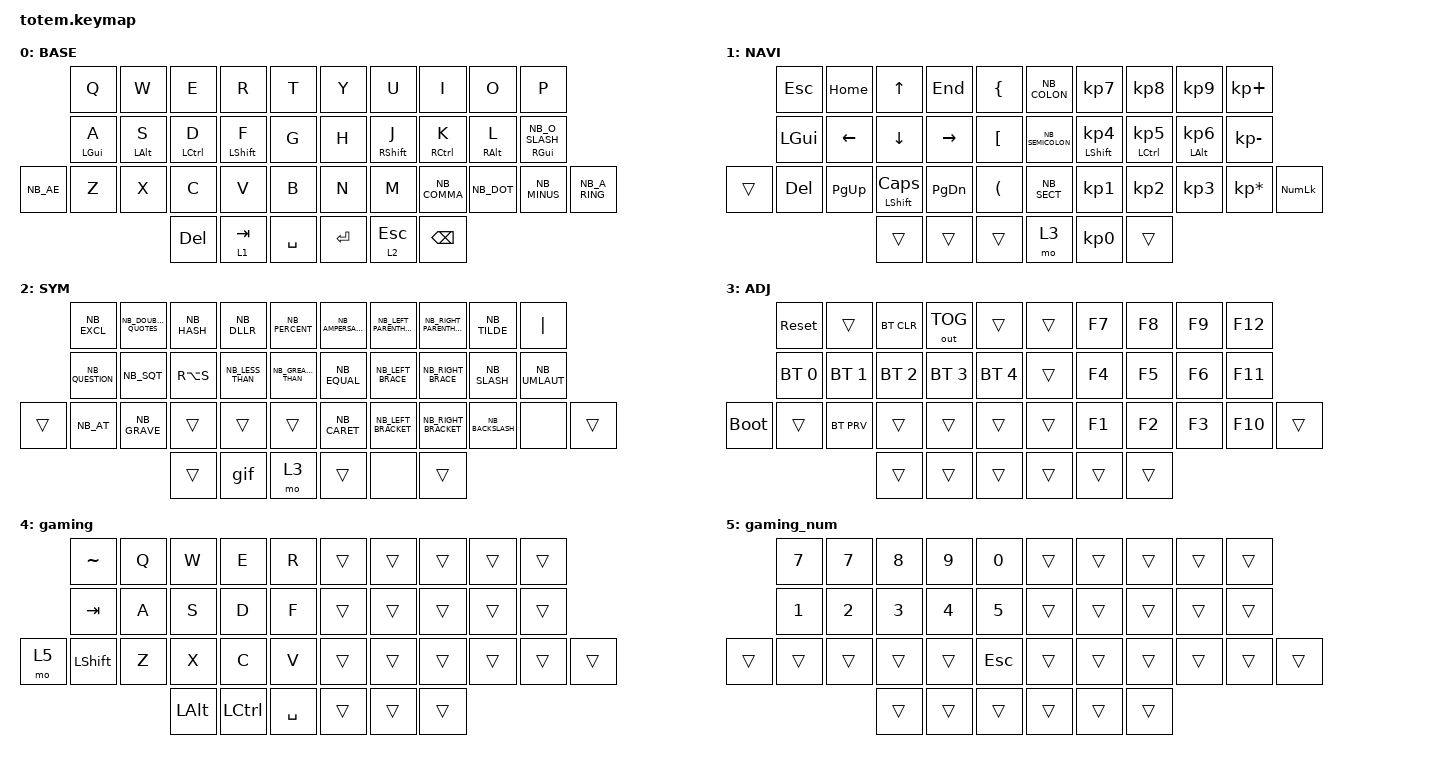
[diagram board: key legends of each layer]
//
//                                                        ▀▀▀▀▀     ▀▀▀▀▀          ▀▀█▀▀
//                                                        ▄▀▀▀▄  ▄  ▄▀▀▀▄  ▄  ▄▀▀▀▄  █  ▄▀▀▀▄
//                                                        █   █  █  █   █  █  █   █  █  █   █
//                                                         ▀▀▀   █   ▀▀▀   █   ▀▀▀   ▀   ▀▀▀
//                                                               █      ▄▄▄█▄▄▄    █   █  
//                                                               ▀      █  █  █     █▄█
//                                                             ▀▀▀▀▀    █  █  █      ▀
//                                                                      ▀  ▀  ▀
//
// ▄▄▄▄▄▄▄▄▄▄▄▄▄▄▄▄▄▄▄▄▄▄▄▄▄▄▄▄▄▄▄▄▄▄▄▄▄▄▄▄▄▄▄▄▄▄▄▄▄▄▄▄▄▄▄▄▄▄▄▄▄▄▄▄▄▄▄▄▄▄▄▄▄▄▄▄▄▄▄▄▄▄▄▄▄▄▄▄▄▄▄▄▄▄▄▄▄▄▄▄▄▄▄▄▄▄▄▄▄▄▄▄▄▄▄▄▄▄▄▄▄▄▄▄▄▄▄▄▄▄▄▄▄▄▄▄▄▄▄▄▄▄▄▄▄▄▄▄▄

#include "keys_nb.h"
#include <behaviors.dtsi>
#include <dt-bindings/zmk/bt.h>
#include <dt-bindings/zmk/keys.h>
#include <dt-bindings/zmk/outputs.h>

#define BASE 0
#define NAV  1
#define SYM  2
#define ADJ  3
#define TVP1 4
#define TVP2 5

&mt {
    quick-tap-ms = <200>;
    global-quick-tap;
    flavor = "balanced";
    tapping-term-ms = <170>;
};

/ {
    combos {
        compatible = "zmk,combos";

        combo_esc {
            timeout-ms = <50>;
            key-positions = <0 1>;
            bindings = <&kp ESC>;
        };

        toggle-gaming {
            bindings = <&tog 4>;
            key-positions = <3 4>;
        };
    };

    macros {
        gif: gif {
            label = "giphy";
            compatible = "zmk,behavior-macro";
            #binding-cells = <0>;
            bindings =
                <&macro_press>,
                <&kp LSHFT>,
                <&macro_tap>,
                <&kp N2>,
                <&macro_release>,
                <&kp LSHFT>,
                <&macro_tap>,
                <&kp G &kp I &kp F>;
        };
    };

    keymap {
        compatible = "zmk,keymap";

        // ▄▄▄▄▄▄▄▄▄▄▄▄▄▄▄▄▄▄▄▄▄▄▄▄▄▄▄▄▄▄▄▄▄▄▄▄▄▄▄▄▄▄▄▄▄▄▄▄▄▄▄▄▄▄▄▄▄▄▄▄▄▄▄▄▄▄▄▄▄▄▄▄▄▄▄▄▄▄▄▄▄▄▄▄▄▄▄▄▄▄▄▄▄▄▄▄▄▄▄▄▄▄▄▄▄▄▄▄▄▄▄▄▄▄▄▄▄▄▄▄▄▄▄▄▄▄▄▄▄▄▄▄▄▄▄▄▄▄▄▄▄▄▄▄▄▄▄▄▄

        base_layer {
            // ┏━━━━━━━━━━━━━━━━━━━━━━━━━━━━━━━━━━━━━━━┓

            label = "BASE";

            // ┗━━━━━━━━━━━━━━━━━━━━━━━━━━━━━━━━━━━━━━━┛
            //             ┏━━━━━━━━━━━┳━━━━━━━━━━━┳━━━━━━━━━━━┳━━━━━━━━━━━┳━━━━━━━━━━━┓   ┏━━━━━━━━━━━┳━━━━━━━━━━━┳━━━━━━━━━━━┳━━━━━━━━━━━┳━━━━━━━━━━━┓
            //             ┃     Q     ┃     W     ┃     F     ┃     P     ┃     G     ┃   ┃     J     ┃     L     ┃     U     ┃     Y     ┃     ;     ┃
            //             ┣━━━━━━━━━━━╋━━━━━━━━━━━╋━━━━━━━━━━━╋━━━━━━━━━━━╋━━━━━━━━━━━┫   ┣━━━━━━━━━━━╋━━━━━━━━━━━╋━━━━━━━━━━━╋━━━━━━━━━━━╋━━━━━━━━━━━┫
            //             ┃     A     ┃     R     ┃     S     ┃     T     ┃     D     ┃   ┃     H     ┃     N     ┃     E     ┃     I     ┃     O     ┃
            // ┏━━━━━━━━━━━╋━━━━━━━━━━━╋━━━━━━━━━━━╋━━━━━━━━━━━╋━━━━━━━━━━━╋━━━━━━━━━━━┫   ┣━━━━━━━━━━━╋━━━━━━━━━━━╋━━━━━━━━━━━╋━━━━━━━━━━━╋━━━━━━━━━━━╋━━━━━━━━━━━┓
            // ┃     Q     ┃     Z     ┃     X     ┃     C     ┃     V     ┃     B     ┃   ┃     K     ┃     M     ┃     ,     ┃     .     ┃     /     ┃     \     ┃
            // ┗━━━━━━━━━━━┻━━━━━━━━━━━┻━━━━━━━━━━━╋━━━━━━━━━━━╋━━━━━━━━━━━╋━━━━━━━━━━━┫   ┣━━━━━━━━━━━╋━━━━━━━━━━━╋━━━━━━━━━━━╋━━━━━━━━━━━┻━━━━━━━━━━━┻━━━━━━━━━━━┛
            //                                     ┃    DEL    ┃    TAB    ┃    SPC    ┃   ┃   ENTER   ┃           ┃   BSPC    ┃
            //                                     ┗━━━━━━━━━━━┻━━━━━━━━━━━┻━━━━━━━━━━━┛   ┗━━━━━━━━━━━┻━━━━━━━━━━━┻━━━━━━━━━━━┛

            bindings = <
           &kp Q       &kp W       &kp E        &kp R        &kp T        &kp Y    &kp U        &kp I         &kp O       &kp P
           &mt LGUI A  &mt LALT S  &mt LCTRL D  &mt LSHFT F  &kp G        &kp H    &mt RSHFT J  &mt RCTRL K   &mt RALT L  &mt RGUI NB_O_SLASH
&kp NB_AE  &kp Z       &kp X       &kp C        &kp V        &kp B        &kp N    &kp M        &kp NB_COMMA  &kp NB_DOT  &kp NB_MINUS         &kp NB_A_RING
                                   &kp DEL      &lt 1 TAB    &kp SPACE    &kp RET  &lt 2 ESC    &kp BSPC
            >;
        };

        // ▄▄▄▄▄▄▄▄▄▄▄▄▄▄▄▄▄▄▄▄▄▄▄▄▄▄▄▄▄▄▄▄▄▄▄▄▄▄▄▄▄▄▄▄▄▄▄▄▄▄▄▄▄▄▄▄▄▄▄▄▄▄▄▄▄▄▄▄▄▄▄▄▄▄▄▄▄▄▄▄▄▄▄▄▄▄▄▄▄▄▄▄▄▄▄▄▄▄▄▄▄▄▄▄▄▄▄▄▄▄▄▄▄▄▄▄▄▄▄▄▄▄▄▄▄▄▄▄▄▄▄▄▄▄▄▄▄▄▄▄▄▄▄▄▄▄▄▄▄

        Numpad {
            // ┏━━━━━━━━━━━━━━━━━━━━━━━━━━━━━━━━━━━━━━━┓

            label = "NAVI";

            // ┗━━━━━━━━━━━━━━━━━━━━━━━━━━━━━━━━━━━━━━━┛
            //             ┏━━━━━━━━━━━┳━━━━━━━━━━━┳━━━━━━━━━━━┳━━━━━━━━━━━┳━━━━━━━━━━━┓   ┏━━━━━━━━━━━┳━━━━━━━━━━━┳━━━━━━━━━━━┳━━━━━━━━━━━┳━━━━━━━━━━━┓
            //             ┃           ┃           ┃     UP    ┃           ┃     {     ┃   ┃     }     ┃     7     ┃     8     ┃     9     ┃     +     ┃
            //             ┣━━━━━━━━━━━╋━━━━━━━━━━━╋━━━━━━━━━━━╋━━━━━━━━━━━╋━━━━━━━━━━━┫   ┣━━━━━━━━━━━╋━━━━━━━━━━━╋━━━━━━━━━━━╋━━━━━━━━━━━╋━━━━━━━━━━━┫
            //             ┃   SHIFT   ┃   LEFT    ┃    DOWN   ┃   RIGHT   ┃     [     ┃   ┃     ]     ┃     4     ┃     5     ┃     6     ┃     -     ┃
            // ┏━━━━━━━━━━━╋━━━━━━━━━━━╋━━━━━━━━━━━╋━━━━━━━━━━━╋━━━━━━━━━━━╋━━━━━━━━━━━┫   ┣━━━━━━━━━━━╋━━━━━━━━━━━╋━━━━━━━━━━━╋━━━━━━━━━━━╋━━━━━━━━━━━╋━━━━━━━━━━━┓
            // ┃           ┃           ┃   P UP    ┃  C LOCK   ┃  P DOWN   ┃     (     ┃   ┃     )     ┃     1     ┃     2     ┃     3     ┃     *     ┃           ┃
            // ┗━━━━━━━━━━━┻━━━━━━━━━━━┻━━━━━━━━━━━╋━━━━━━━━━━━╋━━━━━━━━━━━╋━━━━━━━━━━━┫   ┣━━━━━━━━━━━╋━━━━━━━━━━━╋━━━━━━━━━━━╋━━━━━━━━━━━┻━━━━━━━━━━━┻━━━━━━━━━━━┛
            //                                     ┃           ┃    TAB    ┃    SPC    ┃   ┃    DEL    ┃     0     ┃           ┃
            //                                     ┗━━━━━━━━━━━┻━━━━━━━━━━━┻━━━━━━━━━━━┛   ┗━━━━━━━━━━━┻━━━━━━━━━━━┻━━━━━━━━━━━┛

            bindings = <
        &kp ESC   &kp HOME   &kp UP                   &kp END    &kp LBRC    &kp NB_COLON      &kp KP_N7             &kp KP_N8        &kp KP_N9           &kp KP_PLUS
        &kp LGUI  &kp LEFT   &kp DOWN                 &kp RIGHT  &kp LBKT    &kp NB_SEMICOLON  &mt LEFT_SHIFT KP_N4  &mt LCTRL KP_N5  &mt LEFT_ALT KP_N6  &kp KP_MINUS
&trans  &kp DEL   &kp PG_UP  &mt LEFT_SHIFT CAPSLOCK  &kp PG_DN  &kp LPAR    &kp NB_SECT       &kp KP_N1             &kp KP_N2        &kp KP_N3           &kp KP_MULTIPLY  &kp KP_NUMLOCK
                             &trans                   &trans     &trans      &mo 3             &kp KP_N0             &trans
            >;
        };

        // ▄▄▄▄▄▄▄▄▄▄▄▄▄▄▄▄▄▄▄▄▄▄▄▄▄▄▄▄▄▄▄▄▄▄▄▄▄▄▄▄▄▄▄▄▄▄▄▄▄▄▄▄▄▄▄▄▄▄▄▄▄▄▄▄▄▄▄▄▄▄▄▄▄▄▄▄▄▄▄▄▄▄▄▄▄▄▄▄▄▄▄▄▄▄▄▄▄▄▄▄▄▄▄▄▄▄▄▄▄▄▄▄▄▄▄▄▄▄▄▄▄▄▄▄▄▄▄▄▄▄▄▄▄▄▄▄▄▄▄▄▄▄▄▄▄▄▄▄▄

        sim_layer {
            // ┏━━━━━━━━━━━━━━━━━━━━━━━━━━━━━━━━━━━━━━━┓

            label = "SYM";

            // ┗━━━━━━━━━━━━━━━━━━━━━━━━━━━━━━━━━━━━━━━┛
            //             ┏━━━━━━━━━━━┳━━━━━━━━━━━┳━━━━━━━━━━━┳━━━━━━━━━━━┳━━━━━━━━━━━┓   ┏━━━━━━━━━━━┳━━━━━━━━━━━┳━━━━━━━━━━━┳━━━━━━━━━━━┳━━━━━━━━━━━┓
            //             ┃     !     ┃     @     ┃     #     ┃     $     ┃     %     ┃   ┃     ˆ     ┃     &     ┃     Ü     ┃     '     ┃     "     ┃
            //             ┣━━━━━━━━━━━╋━━━━━━━━━━━╋━━━━━━━━━━━╋━━━━━━━━━━━╋━━━━━━━━━━━┫   ┣━━━━━━━━━━━╋━━━━━━━━━━━╋━━━━━━━━━━━╋━━━━━━━━━━━╋━━━━━━━━━━━┫
            //             ┃     Ä     ┃           ┃    SZ     ┃           ┃           ┃   ┃   MUTE    ┃   YEN     ┃   EURO    ┃  POUND    ┃     Ö     ┃
            // ┏━━━━━━━━━━━╋━━━━━━━━━━━╋━━━━━━━━━━━╋━━━━━━━━━━━╋━━━━━━━━━━━╋━━━━━━━━━━━┫   ┣━━━━━━━━━━━╋━━━━━━━━━━━╋━━━━━━━━━━━╋━━━━━━━━━━━╋━━━━━━━━━━━╋━━━━━━━━━━━┓
            // ┃           ┃  EMAIL1   ┃  EMAIL2   ┃           ┃           ┃           ┃   ┃   VOL-    ┃   VOL+    ┃   LAST    ┃   NEXT    ┃     \     ┃           ┃
            // ┗━━━━━━━━━━━┻━━━━━━━━━━━┻━━━━━━━━━━━╋━━━━━━━━━━━╋━━━━━━━━━━━╋━━━━━━━━━━━┫   ┣━━━━━━━━━━━╋━━━━━━━━━━━╋━━━━━━━━━━━╋━━━━━━━━━━━┻━━━━━━━━━━━┻━━━━━━━━━━━┛
            //                                     ┃           ┃    GIF    ┃    ADJ    ┃   ┃           ┃           ┃           ┃
            //                                     ┗━━━━━━━━━━━┻━━━━━━━━━━━┻━━━━━━━━━━━┛   ┗━━━━━━━━━━━┻━━━━━━━━━━━┻━━━━━━━━━━━┛

            bindings = <
        &kp NB_EXCL      &kp NB_DOUBLE_QUOTES  &kp NB_HASH  &kp NB_DLLR       &kp NB_PERCENT         &kp NB_AMPERSAND  &kp NB_LEFT_PARENTHESIS  &kp NB_RIGHT_PARENTHESIS  &kp NB_TILDE      &kp PIPE
        &kp NB_QUESTION  &kp NB_SQT            &kp RA(S)    &kp NB_LESS_THAN  &kp NB_GREATER_THAN    &kp NB_EQUAL      &kp NB_LEFT_BRACE        &kp NB_RIGHT_BRACE        &kp NB_SLASH      &kp NB_UMLAUT
&trans  &kp NB_AT        &kp NB_GRAVE          &trans       &trans            &trans                 &kp NB_CARET      &kp NB_LEFT_BRACKET      &kp NB_RIGHT_BRACKET      &kp NB_BACKSLASH  &none          &trans
                                               &trans       &gif              &mo 3                  &trans            &none                    &trans
            >;
        };

        // ▄▄▄▄▄▄▄▄▄▄▄▄▄▄▄▄▄▄▄▄▄▄▄▄▄▄▄▄▄▄▄▄▄▄▄▄▄▄▄▄▄▄▄▄▄▄▄▄▄▄▄▄▄▄▄▄▄▄▄▄▄▄▄▄▄▄▄▄▄▄▄▄▄▄▄▄▄▄▄▄▄▄▄▄▄▄▄▄▄▄▄▄▄▄▄▄▄▄▄▄▄▄▄▄▄▄▄▄▄▄▄▄▄▄▄▄▄▄▄▄▄▄▄▄▄▄▄▄▄▄▄▄▄▄▄▄▄▄▄▄▄▄▄▄▄▄▄▄▄

        adjust_layer {
            // ┏━━━━━━━━━━━━━━━━━━━━━━━━━━━━━━━━━━━━━━━┓

            label = "ADJ";

            // ┗━━━━━━━━━━━━━━━━━━━━━━━━━━━━━━━━━━━━━━━┛
            //             ┏━━━━━━━━━━━┳━━━━━━━━━━━┳━━━━━━━━━━━┳━━━━━━━━━━━┳━━━━━━━━━━━┓   ┏━━━━━━━━━━━┳━━━━━━━━━━━┳━━━━━━━━━━━┳━━━━━━━━━━━┳━━━━━━━━━━━┓
            //             ┃   RESET   ┃ BT CLEAR  ┃  OUT TOG  ┃           ┃           ┃   ┃           ┃    F7     ┃    F8     ┃    F9     ┃    F12    ┃
            //             ┣━━━━━━━━━━━╋━━━━━━━━━━━╋━━━━━━━━━━━╋━━━━━━━━━━━╋━━━━━━━━━━━┫   ┣━━━━━━━━━━━╋━━━━━━━━━━━╋━━━━━━━━━━━╋━━━━━━━━━━━╋━━━━━━━━━━━┫
            //             ┃ BOOTLOAD  ┃ BT NEXT   ┃           ┃           ┃           ┃   ┃           ┃    F4     ┃    F5     ┃    F6     ┃    F11    ┃
            // ┏━━━━━━━━━━━╋━━━━━━━━━━━╋━━━━━━━━━━━╋━━━━━━━━━━━╋━━━━━━━━━━━╋━━━━━━━━━━━┫   ┣━━━━━━━━━━━╋━━━━━━━━━━━╋━━━━━━━━━━━╋━━━━━━━━━━━╋━━━━━━━━━━━╋━━━━━━━━━━━┓
            // ┃           ┃           ┃ BT PREV   ┃           ┃           ┃           ┃   ┃           ┃    F1     ┃    F2     ┃    F3     ┃    F10    ┃           ┃
            // ┗━━━━━━━━━━━┻━━━━━━━━━━━┻━━━━━━━━━━━╋━━━━━━━━━━━╋━━━━━━━━━━━╋━━━━━━━━━━━┫   ┣━━━━━━━━━━━╋━━━━━━━━━━━╋━━━━━━━━━━━╋━━━━━━━━━━━┻━━━━━━━━━━━┻━━━━━━━━━━━┛
            //                                     ┃           ┃           ┃           ┃   ┃           ┃           ┃           ┃
            //                                     ┗━━━━━━━━━━━┻━━━━━━━━━━━┻━━━━━━━━━━━┛   ┗━━━━━━━━━━━┻━━━━━━━━━━━┻━━━━━━━━━━━┛

            bindings = <
             &sys_reset    &trans        &bt BT_CLR    &out OUT_TOG  &trans          &trans  &kp F7  &kp F8  &kp F9  &kp F12
             &bt BT_SEL 0  &bt BT_SEL 1  &bt BT_SEL 2  &bt BT_SEL 3  &bt BT_SEL 4    &trans  &kp F4  &kp F5  &kp F6  &kp F11
&bootloader  &trans        &bt BT_PRV    &trans        &trans        &trans          &trans  &kp F1  &kp F2  &kp F3  &kp F10  &trans
                                         &trans        &trans        &trans          &trans  &trans  &trans
            >;
        };

        gaming {
            bindings = <
       &kp TILDE       &kp Q  &kp W         &kp E      &kp R        &trans  &trans  &trans  &trans  &trans
       &kp TAB         &kp A  &kp S         &kp D      &kp F        &trans  &trans  &trans  &trans  &trans
&mo 5  &kp LEFT_SHIFT  &kp Z  &kp X         &kp C      &kp V        &trans  &trans  &trans  &trans  &trans  &trans
                              &kp LEFT_ALT  &kp LCTRL  &kp SPACE    &trans  &trans  &trans
            >;
        };

        gaming_num {
            bindings = <
        &kp N7  &kp N7  &kp N8  &kp N9  &kp N0        &trans  &trans  &trans  &trans  &trans
        &kp N1  &kp N2  &kp N3  &kp N4  &kp N5        &trans  &trans  &trans  &trans  &trans
&trans  &trans  &trans  &trans  &trans  &kp ESCAPE    &trans  &trans  &trans  &trans  &trans  &trans
                        &trans  &trans  &trans        &trans  &trans  &trans
            >;
        };

        // ▄▄▄▄▄▄▄▄▄▄▄▄▄▄▄▄▄▄▄▄▄▄▄▄▄▄▄▄▄▄▄▄▄▄▄▄▄▄▄▄▄▄▄▄▄▄▄▄▄▄▄▄▄▄▄▄▄▄▄▄▄▄▄▄▄▄▄▄▄▄▄▄▄▄▄▄▄▄▄▄▄▄▄▄▄▄▄▄▄▄▄▄▄▄▄▄▄▄▄▄▄▄▄▄▄▄▄▄▄▄▄▄▄▄▄▄▄▄▄▄▄▄▄▄▄▄▄▄▄▄▄▄▄▄▄▄▄▄▄▄▄▄▄▄▄▄▄▄▄
        // ▄▄▄▄▄▄▄▄▄▄▄▄▄▄▄▄▄▄▄▄▄▄▄▄▄▄▄▄▄▄▄▄▄▄▄▄▄▄▄▄▄▄▄▄▄▄▄▄▄▄▄▄▄▄▄▄▄▄▄▄▄▄▄▄▄▄▄▄▄▄▄▄▄▄▄▄▄▄▄▄▄▄▄▄▄▄▄▄▄▄▄▄▄▄▄▄▄▄▄▄▄▄▄▄▄▄▄▄▄▄▄▄▄▄▄▄▄▄▄▄▄▄▄▄▄▄▄▄▄▄▄▄▄▄▄▄▄▄▄▄▄▄▄▄▄▄▄▄▄
    };
};
